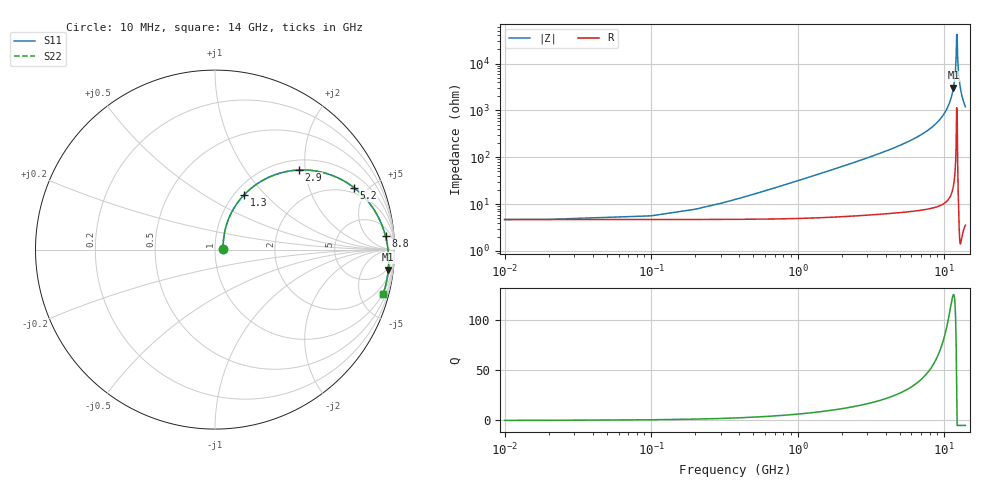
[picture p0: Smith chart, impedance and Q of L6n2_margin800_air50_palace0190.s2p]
! Created with skrf 2.2.0 (http://scikit-rf.org).
# GHz S DB R 50.0
! Port[1] = P1
! Port[2] = P2
!freq dBS11 angS11 dBS21 angS21 dBS12 angS12 dBS22 angS22
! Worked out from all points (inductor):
!   142 points, 10 MHz to 14 GHz, reference 50 ohm
!   read as one part in series: L = 4.92 nH near 500 MHz
!   highest Q = 125 at 11.6 GHz (marker M1), where L = 42.1 nH
!   self-resonance near 12.2 GHz
!   S11 on the Smith chart (normalised r, x): 10 MHz: 1.09, +0.01; 1.3 GHz: 1.11, +0.77; 2.9 GHz: 1.22, +1.84; 5.2 GHz: 1.66, +4.08; 8.8 GHz: 11, +19; 14 GHz: 0.93, -7.53
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0.01  -26.97 3.3  -0.40 -0.2  -0.40 -0.2  -26.97 3.3
0.6  -15.41 65.8  -0.58 -10.7  -0.58 -10.7  -15.41 65.8
1.3  -9.18 61.9  -1.09 -22.1  -1.09 -22.1  -9.18 61.9
2.4  -4.91 49.0  -2.36 -37.6  -2.36 -37.6  -4.91 49.0
2.9  -3.83 43.6  -3.06 -43.6  -3.06 -43.6  -3.83 43.5
4.7  -1.74 27.5  -5.95 -60.6  -5.95 -60.6  -1.74 27.5
5.2  -1.43 23.9  -6.83 -64.4  -6.83 -64.4  -1.43 23.9
7.1  -0.71 12.6  -10.52 -76.2  -10.52 -76.2  -0.71 12.6
8.8  -0.42 4.5  -14.69 -84.6  -14.69 -84.6  -0.42 4.5
9.4  -0.35 2.0  -16.55 -87.3  -16.55 -87.3  -0.36 1.9
10.8  -0.27 -3.6  -22.85 -93.0  -22.85 -93.0  -0.27 -3.6
11.6  -0.25 -6.6  -30.01 -96.0  -30.01 -96.0  -0.25 -6.6
11.7  -0.25 -6.9  -31.48 -96.4  -31.48 -96.4  -0.25 -6.9
12  -0.24 -8.0  -38.38 -97.3  -38.38 -97.3  -0.24 -8.0
12.1  -0.24 -8.4  -42.80 -97.5  -42.80 -97.5  -0.24 -8.4
12.2  -0.24 -8.7  -52.20 -96.9  -52.20 -96.9  -0.24 -8.7
12.3  -0.24 -9.1  -52.73 79.7  -52.73 79.7  -0.24 -9.1
12.4  -0.24 -9.4  -43.04 80.4  -43.04 80.4  -0.24 -9.4
12.5  -0.24 -9.8  -38.59 80.2  -38.59 80.2  -0.24 -9.8
12.7  -0.25 -10.5  -33.50 79.6  -33.50 79.6  -0.25 -10.5
13.2  -0.25 -12.2  -27.10 77.9  -27.10 77.9  -0.25 -12.2
14  -0.28 -14.9  -21.94 75.1  -21.94 75.1  -0.28 -14.9
